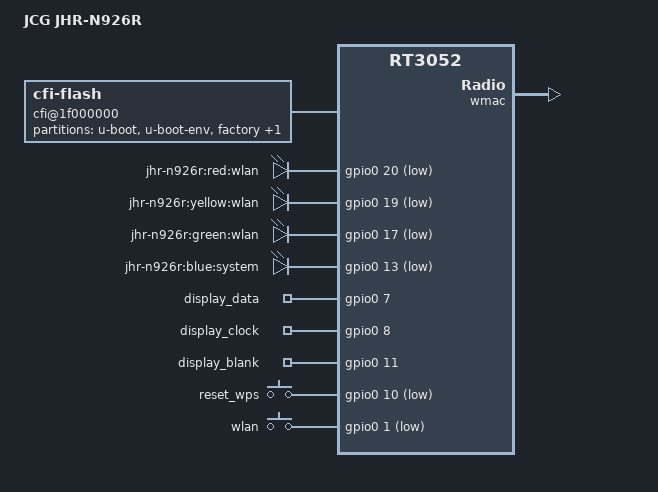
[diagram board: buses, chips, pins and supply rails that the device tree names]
/dts-v1/;

#include "rt3050.dtsi"

#include <dt-bindings/gpio/gpio.h>
#include <dt-bindings/input/input.h>

/ {
	compatible = "jcg,jhr-n926r", "ralink,rt3052-soc";
	model = "JCG JHR-N926R";

	aliases {
		led-status = &led_system;
	};

	cfi@1f000000 {
		compatible = "cfi-flash";
		reg = <0x1f000000 0x800000>;
		bank-width = <2>;
		device-width = <2>;

		partitions {
			compatible = "fixed-partitions";
			#address-cells = <1>;
			#size-cells = <1>;

			partition@0 {
				label = "u-boot";
				reg = <0x0 0x30000>;
				read-only;
			};

			partition@30000 {
				label = "u-boot-env";
				reg = <0x30000 0x10000>;
				read-only;
			};

			factory: partition@40000 {
				label = "factory";
				reg = <0x40000 0x10000>;
				read-only;
			};

			partition@50000 {
				label = "firmware";
				reg = <0x50000 0x3b0000>;
			};
		};
	};

	gpio-leds {
		compatible = "gpio-leds";

		wlan1 {
			label = "jhr-n926r:red:wlan";
			gpios = <&gpio0 20 GPIO_ACTIVE_LOW>;
		};

		wlan2 {
			label = "jhr-n926r:yellow:wlan";
			gpios = <&gpio0 19 GPIO_ACTIVE_LOW>;
		};

		wlan3 {
			label = "jhr-n926r:green:wlan";
			gpios = <&gpio0 17 GPIO_ACTIVE_LOW>;
		};

		led_system: system {
			label = "jhr-n926r:blue:system";
			gpios = <&gpio0 13 GPIO_ACTIVE_LOW>;
		};
	};

	gpio_export {
		compatible = "gpio-export";
		#size-cells = <0>;

		display_data {
			gpio-export,name = "display_data";
			gpio-export,output = <1>;
			gpios = <&gpio0 7 GPIO_ACTIVE_HIGH>;
		};

		display_clock {
			gpio-export,name = "display_clock";
			gpio-export,output = <1>;
			gpios = <&gpio0 8 GPIO_ACTIVE_HIGH>;
		};

		display_blank {
			gpio-export,name = "display_blank";
			gpio-export,output = <1>;
			gpios = <&gpio0 11 GPIO_ACTIVE_HIGH>;
		};
	};

	gpio-keys-polled {
		compatible = "gpio-keys-polled";
		poll-interval = <20>;

		reset_wps {
			label = "reset_wps";
			gpios = <&gpio0 10 GPIO_ACTIVE_LOW>;
			linux,code = <KEY_RESTART>;
		};

		wlan {
			label = "wlan";
			gpios = <&gpio0 1 GPIO_ACTIVE_LOW>;
			linux,code = <BTN_0>;
		};
	};
};

&pinctrl {
	state_default: pinctrl0 {
		gpio {
			ralink,group = "spi", "i2c", "jtag", "rgmii", "mdio", "uartf";
			ralink,function = "gpio";
		};
	};
};

&ethernet {
	mtd-mac-address = <&factory 0x2e>;
};

&esw {
	mediatek,portmap = <0x3e>;
};

&wmac {
	ralink,mtd-eeprom = <&factory 0>;
};
